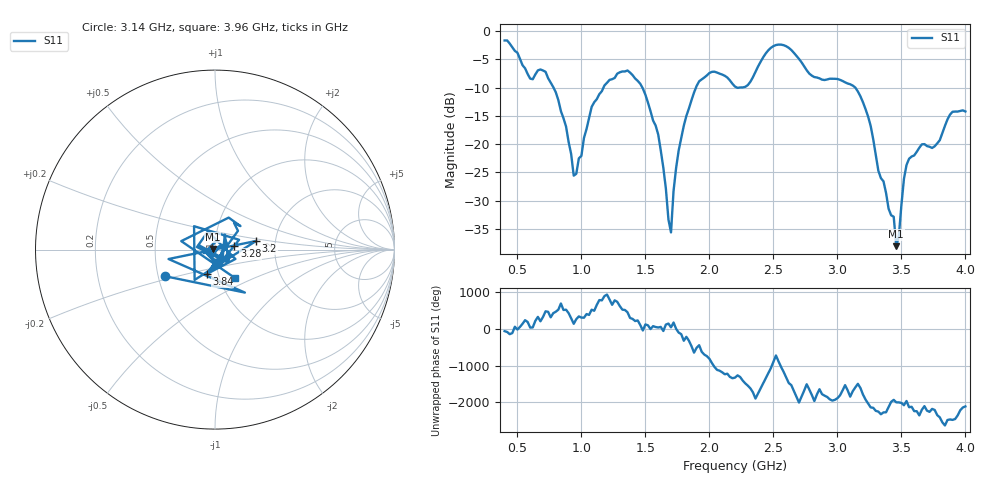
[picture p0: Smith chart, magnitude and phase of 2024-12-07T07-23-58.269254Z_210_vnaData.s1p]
!Created with skrf (http://scikit-rf.org).
# Hz S RI R 50.0
!freq ReS11 ImS11
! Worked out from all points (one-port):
!   181 points, 400 MHz to 4 GHz, reference 50 ohm
!   lowest |S11| = -38.0 dB at 3.46 GHz (marker M1), VSWR 1.03, Z = 48.8 + j0.408 ohm
!   |S11| at or under -10 dB: 781.8 MHz to 1.173 GHz (390.9 MHz wide, 40 % of centre); 1.476 GHz to 1.895 GHz (419.5 MHz wide, 24.9 % of centre); 3.14 GHz to end of sweep (the widest 3 of 4)
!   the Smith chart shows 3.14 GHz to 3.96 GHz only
!   S11 on the Smith chart (normalised r, x): 3.14 GHz: 0.54, -0.18; 3.2 GHz: 1.58, +0.16; 3.28 GHz: 1.24, +0.05; 3.84 GHz: 0.88, -0.25; 3.96 GHz: 1.19, -0.39
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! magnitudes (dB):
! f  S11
! 400 MHz  -1.7
! 600 MHz  -8.4
! 720 MHz  -7.2
! 860 MHz  -15.4
! 940 MHz  -25.6
! 960 MHz  -25.2
! 1.08 GHz  -13.4
! 1.3 GHz  -7.3
! 1.46 GHz  -9.3
! 1.58 GHz  -16.7
! 1.7 GHz  -35.6
! 1.72 GHz  -28.2
! 1.76 GHz  -21.1
! 1.92 GHz  -8.9
! 2.2 GHz  -9.8
! 2.5 GHz  -2.7
! 2.66 GHz  -3.9
! 3.1 GHz  -9.4
! 3.14 GHz  -10.0
! 3.2 GHz  -12.6
! 3.28 GHz  -19.2
! 3.44 GHz  -32.8
! 3.46 GHz  -38.0
! 3.52 GHz  -26.1
! 3.56 GHz  -22.6
! 3.84 GHz  -16.8
! 3.96 GHz  -14.2
! 4 GHz  -14.2
